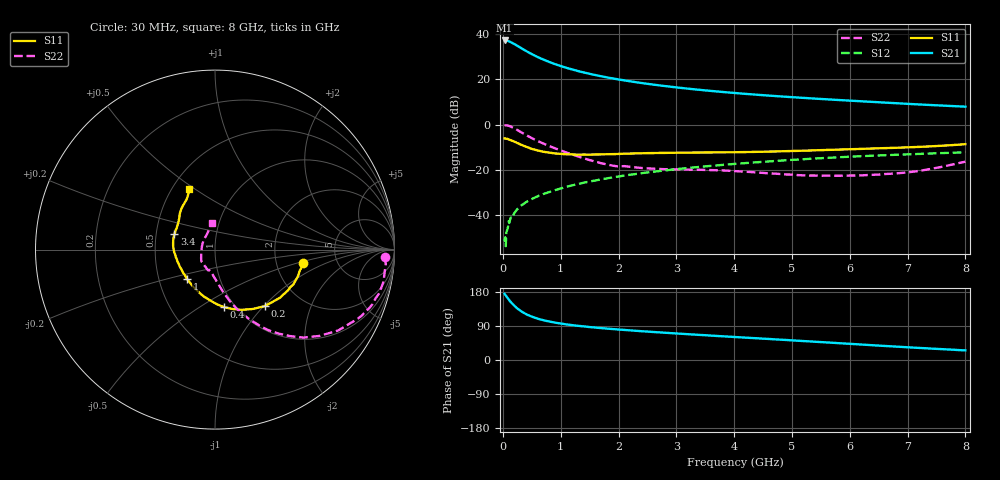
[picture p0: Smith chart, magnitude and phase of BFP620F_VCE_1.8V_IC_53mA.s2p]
! Infineon Technologies  Discrete & RF Semiconductors
! BFP620F
! VCE =  1.8 V,  IC =  53 mA
! Common Emitter S-Parameters:  Dec 2014
# GHz  S  MA  R  50
!  f  S11  S21  S12  S22
! GHz  MAG  ANG  MAG  ANG  MAG  ANG  MAG  ANG
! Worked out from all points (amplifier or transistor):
!   95 points, 30 MHz to 8 GHz, reference 50 ohm
!   highest |S21| = 37.0 dB at 30 MHz (marker M1)
!   |S21| within 3 dB of that: start of sweep to 293.2 MHz
!   unconditionally stable (mu >= 1): 1.867 GHz to end of sweep
!   at 300 MHz: K = 0.50, MSG = 34.9 dB, |S12| = -35.9 dB
!   at 3.3 GHz: K = 1.03, MAG = 16.1 dB, |S12| = -18.9 dB
!   at 8 GHz: K = 1.05, MAG = 8.6 dB, |S12| = -12.2 dB
!   S11 on the Smith chart (normalised r, x): 30 MHz: 2.83, -0.56; 200 MHz: 1.32, -1.01; 400 MHz: 0.89, -0.64; 1 GHz: 0.70, -0.24; 3.4 GHz: 0.62, +0.11; 8 GHz: 0.60, +0.47
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0.03  0.494 -8.7  70.75 174.5  0.0027 98.1  0.9472 -2.4
0.07  0.4839 -18.9  69.95 166.0  0.0046 88.7  0.955 -11.0
0.09  0.4774 -24.1  68.73 161.8  0.0057 88.5  0.9454 -15.1
0.12  0.4601 -31.4  66.27 156.0  0.0075 75.9  0.9196 -20.7
0.15  0.4451 -38.2  63.74 150.8  0.0086 81.5  0.8834 -25.9
0.2  0.4194 -48.7  58.82 142.9  0.0113 76.8  0.8208 -33.3
0.25  0.391 -57.9  54.04 136.0  0.0137 73.0  0.7559 -39.5
0.3  0.3664 -66.3  49.49 130.3  0.016 72.4  0.6946 -44.9
0.35  0.3439 -74.0  45.28 125.5  0.0176 71.2  0.6374 -49.1
0.4  0.3244 -81.0  41.61 121.2  0.0195 69.9  0.5865 -52.9
0.5  0.2911 -92.8  35.41 114.5  0.0229 69.7  0.5029 -58.9
0.6  0.2687 -103.4  30.6 109.2  0.0263 69.7  0.4347 -63.6
0.8  0.2407 -120.3  23.81 101.6  0.0326 69.2  0.3367 -70.8
1  0.2261 -133.8  19.36 96.2  0.0391 69.4  0.269 -76.3
1.4  0.2182 -153.9  13.98 88.6  0.0524 68.7  0.1808 -86.5
1.9  0.2229 -171.2  10.33 81.7  0.0686 66.8  0.1241 -102.0
2.7  0.2364 170.9  7.282 73.0  0.0943 62.6  0.1052 -125.2
3.4  0.2415 159.3  5.801 66.2  0.1166 58.5  0.1011 -137.0
4.1  0.2464 149.6  4.832 59.9  0.1385 54.1  0.0929 -145.9
5.4  0.2701 137.2  3.715 48.2  0.1784 45.1  0.0753 -177.6
6.7  0.3047 125.5  2.989 36.3  0.213 35.5  0.0823 139.3
8  0.369 113.3  2.47 25.3  0.2448 26.2  0.1521 97.2
